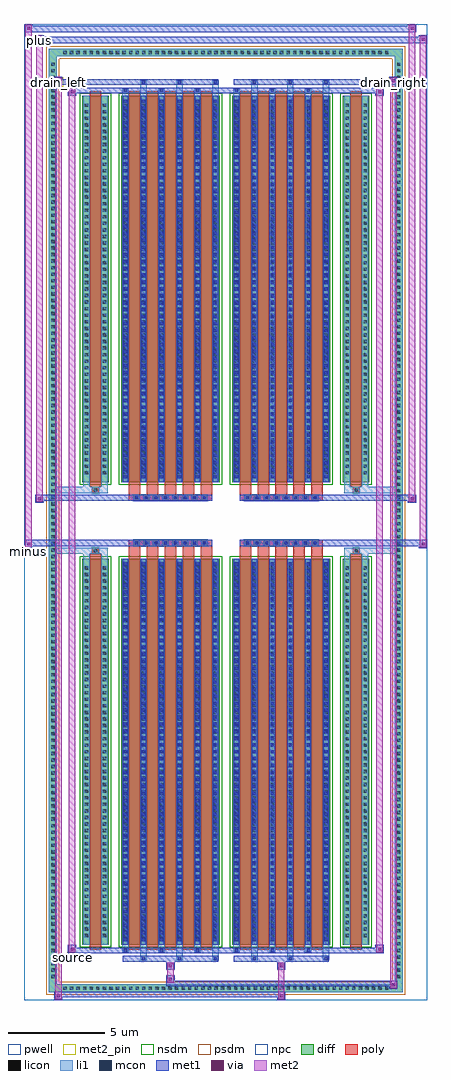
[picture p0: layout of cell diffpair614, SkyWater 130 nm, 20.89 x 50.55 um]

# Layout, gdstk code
import gdstk
lib = gdstk.Library(unit=1e-6, precision=5e-09)
def R(c, l, rs):  # rectangles x0, y0, x1, y1
    for r in rs: c.add(gdstk.rectangle(r[:2], r[2:], *l))
def A(c, l, x, y, w, h, nx, ny, dx, dy):  # array of equal rectangles
    R(c, l, [(x+i*dx, y+j*dy, x+i*dx+w, y+j*dy+h) for i in range(nx) for j in range(ny)])
def P(c, l, *ps):  # polygons
    for p in ps: c.add(gdstk.Polygon(p, *l))
pwell = (64, 44)
diff = (65, 20)
poly = (66, 20)
licon = (66, 44)
li1 = (67, 20)
mcon = (67, 44)
met1 = (68, 20)
via = (68, 44)
met2_pin = (69, 16)
met2 = (69, 20)
nsdm = (93, 44)
psdm = (94, 20)
npc = (95, 20)

diffpair614 = lib.new_cell('diffpair614')
R(diffpair614, pwell, [(-10.43,-24.84,10.43,25.71), (-7.75,-23.03,-0.01,-0.805), (0.01,-23.03,7.75,-0.805), (-7.75,0.805,-0.01,23.03), (0.01,0.805,7.75,23.03)])
A(diffpair614, diff, -8.535, -24.44, 0.41, 0.41, 50, 2, 0.34, 48.47)
A(diffpair614, diff, -9.16, -23.835, 0.41, 0.41, 1, 140, 0, 0.34)
A(diffpair614, diff, 8.75, -23.835, 0.41, 0.41, 1, 140, 0, 0.34)
R(diffpair614, diff, [(-8.535,-24.44,8.535,-24.03), (-9.16,-23.835,-8.75,23.835), (8.75,-23.835,9.16,23.835), (-7.44,-21.985,-6.06,-1.985), (-5.42,-21.985,-0.32,-1.985), (0.32,-21.985,5.42,-1.985), (6.06,-21.985,7.44,-1.985), (-7.44,1.985,-6.06,21.985), (-5.42,1.985,-0.32,21.985), (0.32,1.985,5.42,21.985), (6.06,1.985,7.44,21.985), (-8.535,24.03,8.535,24.44)])
P(diffpair614, diff, [(9.16,24.44),(-9.16,24.44),(-9.16,-24.03),(-8.75,-24.03),(-8.75,24.03),(8.75,24.03),(8.75,-24.03),(-8.75,-24.03),(-9.16,-24.03),(-9.16,-24.44),(9.16,-24.44)])
A(diffpair614, poly, -5.03, -22.235, 0.6, 20.5, 5, 2, 0.93, 23.97)
A(diffpair614, poly, 0.71, -22.235, 0.6, 20.5, 5, 2, 0.93, 23.97)
A(diffpair614, poly, -5.03, -1.735, 0.6, 0.4, 5, 2, 0.93, 3.07)
A(diffpair614, poly, 0.71, -1.735, 0.6, 0.4, 5, 2, 0.93, 3.07)
A(diffpair614, poly, -4.785, -1.335, 0.33, 0.33, 8, 2, 0.5, 2.34)
A(diffpair614, poly, 0.955, -1.335, 0.33, 0.33, 8, 2, 0.5, 2.34)
R(diffpair614, poly, [(-7.05,-22.235,-6.45,-1.735), (6.45,-22.235,7.05,-1.735), (-6.915,-1.735,-6.585,-1.405), (-6.915,-1.735,-6.585,-1.405), (6.585,-1.735,6.915,-1.405), (6.585,-1.735,6.915,-1.405), (-5.03,-1.335,-0.71,-1.005), (0.71,-1.335,5.03,-1.005), (-5.03,1.005,-0.71,1.335), (0.71,1.005,5.03,1.335), (-6.915,1.405,-6.585,1.735), (-6.915,1.405,-6.585,1.735), (6.585,1.405,6.915,1.735), (6.585,1.405,6.915,1.735), (-7.05,1.735,-6.45,22.235), (6.45,1.735,7.05,22.235)])
A(diffpair614, licon, -8.415, -24.32, 0.17, 0.17, 50, 2, 0.34, 48.47)
A(diffpair614, licon, -9.04, -23.715, 0.17, 0.17, 1, 140, 0, 0.34)
A(diffpair614, licon, 8.87, -23.715, 0.17, 0.17, 1, 140, 0, 0.34)
A(diffpair614, licon, -7.3, -21.59, 0.17, 0.17, 1, 57, 0, 0.34)
A(diffpair614, licon, -6.37, -21.59, 0.17, 0.17, 1, 57, 0, 0.34)
A(diffpair614, licon, -5.28, -21.59, 0.17, 0.17, 6, 57, 0.93, 0.34)
A(diffpair614, licon, 0.46, -21.59, 0.17, 0.17, 6, 57, 0.93, 0.34)
A(diffpair614, licon, 6.2, -21.59, 0.17, 0.17, 1, 57, 0, 0.34)
A(diffpair614, licon, 7.13, -21.59, 0.17, 0.17, 1, 57, 0, 0.34)
A(diffpair614, licon, -4.705, -1.255, 0.17, 0.17, 8, 2, 0.5, 2.34)
A(diffpair614, licon, 1.035, -1.255, 0.17, 0.17, 8, 2, 0.5, 2.34)
A(diffpair614, licon, -7.3, 2.38, 0.17, 0.17, 1, 57, 0, 0.34)
A(diffpair614, licon, -6.37, 2.38, 0.17, 0.17, 1, 57, 0, 0.34)
A(diffpair614, licon, -5.28, 2.38, 0.17, 0.17, 6, 57, 0.93, 0.34)
A(diffpair614, licon, 0.46, 2.38, 0.17, 0.17, 6, 57, 0.93, 0.34)
A(diffpair614, licon, 6.2, 2.38, 0.17, 0.17, 1, 57, 0, 0.34)
A(diffpair614, licon, 7.13, 2.38, 0.17, 0.17, 1, 57, 0, 0.34)
R(diffpair614, licon, [(-6.835,-1.655,-6.665,-1.485), (6.665,-1.655,6.835,-1.485), (-6.835,1.485,-6.665,1.655), (6.665,1.485,6.835,1.655)])
A(diffpair614, li1, -8.495, -24.4, 0.33, 0.33, 50, 2, 0.34, 48.47)
A(diffpair614, li1, -9.12, -23.795, 0.33, 0.33, 1, 140, 0, 0.34)
A(diffpair614, li1, 8.79, -23.795, 0.33, 0.33, 1, 140, 0, 0.34)
A(diffpair614, li1, -4.43, -22.79, 0.33, 0.805, 3, 2, 1.86, 44.775)
A(diffpair614, li1, -4.35, -22.79, 0.17, 0.17, 3, 2, 1.86, 45.41)
A(diffpair614, li1, 1.31, -22.79, 0.33, 0.805, 3, 2, 1.86, 44.775)
A(diffpair614, li1, 1.39, -22.79, 0.17, 0.17, 3, 2, 1.86, 45.41)
A(diffpair614, li1, -5.36, -22.36, 0.33, 0.375, 3, 2, 1.86, 44.345)
A(diffpair614, li1, -5.28, -22.36, 0.17, 0.17, 3, 2, 1.86, 44.55)
A(diffpair614, li1, 0.38, -22.36, 0.33, 0.375, 3, 2, 1.86, 44.345)
A(diffpair614, li1, 0.46, -22.36, 0.17, 0.17, 3, 2, 1.86, 44.55)
A(diffpair614, li1, -5.36, -21.985, 0.33, 20, 6, 2, 0.93, 23.97)
A(diffpair614, li1, 0.38, -21.985, 0.33, 20, 6, 2, 0.93, 23.97)
A(diffpair614, li1, -5.28, -21.79, 0.17, 0.17, 6, 55, 0.93, 0.36)
A(diffpair614, li1, -5.28, -21.79, 0.17, 19.61, 6, 2, 0.93, 23.97)
A(diffpair614, li1, 0.46, -21.79, 0.17, 0.17, 6, 55, 0.93, 0.36)
A(diffpair614, li1, 0.46, -21.79, 0.17, 19.61, 6, 2, 0.93, 23.97)
A(diffpair614, li1, -7.38, -21.67, 0.33, 0.33, 1, 57, 0, 0.34)
A(diffpair614, li1, -6.45, -21.67, 0.33, 0.33, 1, 57, 0, 0.34)
A(diffpair614, li1, -5.36, -21.67, 0.33, 0.33, 6, 57, 0.93, 0.34)
A(diffpair614, li1, 0.38, -21.67, 0.33, 0.33, 6, 57, 0.93, 0.34)
A(diffpair614, li1, 6.12, -21.67, 0.33, 0.33, 1, 57, 0, 0.34)
A(diffpair614, li1, 7.05, -21.67, 0.33, 0.33, 1, 57, 0, 0.34)
A(diffpair614, li1, -4.785, -1.335, 0.33, 0.33, 8, 2, 0.5, 2.34)
A(diffpair614, li1, 0.955, -1.335, 0.33, 0.33, 8, 2, 0.5, 2.34)
A(diffpair614, li1, -5.28, 2.18, 0.17, 0.17, 6, 55, 0.93, 0.36)
A(diffpair614, li1, 0.46, 2.18, 0.17, 0.17, 6, 55, 0.93, 0.36)
A(diffpair614, li1, -7.38, 2.3, 0.33, 0.33, 1, 57, 0, 0.34)
A(diffpair614, li1, -6.45, 2.3, 0.33, 0.33, 1, 57, 0, 0.34)
A(diffpair614, li1, -5.36, 2.3, 0.33, 0.33, 6, 57, 0.93, 0.34)
A(diffpair614, li1, 0.38, 2.3, 0.33, 0.33, 6, 57, 0.93, 0.34)
A(diffpair614, li1, 6.12, 2.3, 0.33, 0.33, 1, 57, 0, 0.34)
A(diffpair614, li1, 7.05, 2.3, 0.33, 0.33, 1, 57, 0, 0.34)
R(diffpair614, li1, [(-9.16,-24.44,-8.75,-24.03), (-9.16,-24.44,-8.75,-24.03), (-8.75,-24.44,8.75,-24.03), (8.75,-24.44,9.16,-24.03), (8.75,-24.44,9.16,-24.03), (-9.16,-24.03,-8.75,24.03), (8.75,-24.03,9.16,24.03), (-7.38,-21.985,-7.05,-1.985), (-6.45,-21.985,-6.12,-1.985), (6.12,-21.985,6.45,-1.985), (7.05,-21.985,7.38,-1.985), (-7.38,-1.985,-7.05,-1.405), (-6.45,-1.985,-6.12,-1.405), (6.12,-1.985,6.45,-1.405), (7.05,-1.985,7.38,-1.405), (-9.16,-1.735,-6.915,-1.405), (-7.38,-1.735,-6.915,-1.405), (-6.915,-1.735,-6.585,-1.405), (-6.585,-1.735,-6.12,-1.405), (6.12,-1.735,6.585,-1.405), (6.585,-1.735,6.915,-1.405), (6.585,-1.735,9.16,-1.405), (6.915,-1.735,7.38,-1.405), (-9.16,1.405,-6.915,1.735), (-7.38,1.405,-6.915,1.735), (-7.38,1.405,-7.05,1.985), (-6.915,1.405,-6.585,1.735), (-6.585,1.405,-6.12,1.735), (-6.45,1.405,-6.12,1.985), (6.12,1.405,6.585,1.735), (6.12,1.405,6.45,1.985), (6.585,1.405,6.915,1.735), (6.585,1.405,9.16,1.735), (6.915,1.405,7.38,1.735), (7.05,1.405,7.38,1.985), (-7.38,1.985,-7.05,21.985), (-6.45,1.985,-6.12,21.985), (6.12,1.985,6.45,21.985), (7.05,1.985,7.38,21.985), (-9.16,24.03,-8.75,24.44), (-9.16,24.03,-8.75,24.44), (-8.75,24.03,8.75,24.44), (8.75,24.03,9.16,24.44), (8.75,24.03,9.16,24.44)])
A(diffpair614, mcon, -4.35, -22.79, 0.17, 0.17, 3, 2, 1.86, 45.41)
A(diffpair614, mcon, 1.39, -22.79, 0.17, 0.17, 3, 2, 1.86, 45.41)
A(diffpair614, mcon, -5.28, -22.36, 0.17, 0.17, 3, 2, 1.86, 44.55)
A(diffpair614, mcon, 0.46, -22.36, 0.17, 0.17, 3, 2, 1.86, 44.55)
A(diffpair614, mcon, -5.28, -21.79, 0.17, 0.17, 6, 55, 0.93, 0.36)
A(diffpair614, mcon, 0.46, -21.79, 0.17, 0.17, 6, 55, 0.93, 0.36)
A(diffpair614, mcon, -4.705, -1.255, 0.17, 0.17, 8, 2, 0.5, 2.34)
A(diffpair614, mcon, 1.035, -1.255, 0.17, 0.17, 8, 2, 0.5, 2.34)
A(diffpair614, mcon, -5.28, 2.18, 0.17, 0.17, 6, 55, 0.93, 0.36)
A(diffpair614, mcon, 0.46, 2.18, 0.17, 0.17, 6, 55, 0.93, 0.36)
A(diffpair614, met1, -4.41, -22.85, 0.29, 0.29, 3, 2, 1.86, 45.41)
A(diffpair614, met1, 1.33, -22.85, 0.29, 0.29, 3, 2, 1.86, 45.41)
A(diffpair614, met1, -5.34, -22.42, 0.29, 0.29, 3, 2, 1.86, 44.55)
A(diffpair614, met1, 0.4, -22.42, 0.29, 0.29, 3, 2, 1.86, 44.55)
A(diffpair614, met1, -5.34, -21.985, 0.29, 20, 6, 2, 0.93, 23.97)
A(diffpair614, met1, 0.4, -21.985, 0.29, 20, 6, 2, 0.93, 23.97)
A(diffpair614, met1, -5.34, -21.85, 0.29, 0.29, 6, 55, 0.93, 0.36)
A(diffpair614, met1, 0.4, -21.85, 0.29, 0.29, 6, 55, 0.93, 0.36)
A(diffpair614, met1, -4.765, -1.315, 0.29, 0.29, 8, 2, 0.5, 2.34)
A(diffpair614, met1, 0.975, -1.315, 0.29, 0.29, 8, 2, 0.5, 2.34)
A(diffpair614, met1, -5.34, 2.12, 0.29, 0.29, 6, 55, 0.93, 0.36)
A(diffpair614, met1, 0.4, 2.12, 0.29, 0.29, 6, 55, 0.93, 0.36)
R(diffpair614, met1, [(-8.89,-24.84,-8.46,-24.41), (2.655,-24.84,3.085,-24.41), (-8.89,-24.7,3.085,-24.41), (8.46,-24.27,8.89,-23.84), (-3.085,-24.13,8.89,-23.84), (-3.085,-23.99,-2.655,-23.56), (-3.085,-23.28,-2.655,-22.85), (2.655,-23.28,3.085,-22.85), (-5.34,-22.85,-0.4,-22.56), (0.4,-22.85,5.34,-22.56), (-8.18,-22.42,-7.75,-21.99), (-8.18,-22.42,-5.34,-22.13), (-5.34,-22.42,-0.4,-22.13), (-0.4,-22.42,0.4,-22.13), (0.4,-22.42,5.34,-22.13), (5.34,-22.42,8.18,-22.13), (7.75,-22.42,8.18,-21.99), (-10.43,-1.435,-10,-1.005), (10,-1.435,10.43,-1.005), (-10.43,-1.335,-0.71,-1.005), (-5.03,-1.335,-0.71,-1.005), (0.71,-1.335,5.03,-1.005), (0.71,-1.335,10.43,-1.005), (-9.86,0.905,-9.43,1.335), (9.43,0.905,9.86,1.335), (-9.86,1.005,-5.03,1.335), (-5.03,1.005,-0.71,1.335), (0.71,1.005,5.03,1.335), (5.03,1.005,9.86,1.335), (-8.18,21.99,-7.75,22.42), (7.75,21.99,8.18,22.42), (-8.18,22.13,-5.34,22.42), (-5.34,22.13,-0.4,22.42), (-0.4,22.13,0.4,22.42), (0.4,22.13,5.34,22.42), (5.34,22.13,8.18,22.42), (-8.89,22.56,-8.46,22.99), (-8.89,22.56,-5.34,22.85), (-5.34,22.56,-0.4,22.85), (0.4,22.56,5.34,22.85), (5.34,22.56,8.89,22.85), (8.46,22.56,8.89,22.99), (-9.86,24.71,-9.43,25.14), (-9.86,24.71,-7.75,25.04), (-7.75,24.71,7.75,25.04), (7.75,24.71,10.43,25.04), (10,24.71,10.43,25.14), (-10.43,25.28,-10,25.71), (-10.43,25.28,-7.75,25.61), (-7.75,25.28,7.75,25.61), (7.75,25.28,9.86,25.61), (9.43,25.28,9.86,25.71)])
R(diffpair614, via, [(-8.75,-24.7,-8.6,-24.55), (2.795,-24.7,2.945,-24.55), (8.6,-24.13,8.75,-23.98), (-2.945,-23.85,-2.795,-23.7), (-2.945,-23.14,-2.795,-22.99), (2.795,-23.14,2.945,-22.99), (-8.04,-22.28,-7.89,-22.13), (7.89,-22.28,8.04,-22.13), (-10.29,-1.295,-10.14,-1.145), (10.14,-1.295,10.29,-1.145), (-9.72,1.045,-9.57,1.195), (9.57,1.045,9.72,1.195), (-8.04,22.13,-7.89,22.28), (7.89,22.13,8.04,22.28), (-8.75,22.7,-8.6,22.85), (8.6,22.7,8.75,22.85), (-9.72,24.85,-9.57,25), (10.14,24.85,10.29,25), (-10.29,25.42,-10.14,25.57), (9.57,25.42,9.72,25.57)])
R(diffpair614, met2_pin, [(-8.215,-22.87,-7.715,-22.37), (-10.465,-1.885,-9.965,-1.385), (-8.925,22.44,-8.425,22.94), (8.425,22.44,8.925,22.94), (-9.895,24.59,-9.395,25.09)])
R(diffpair614, met2, [(-8.84,-24.79,-8.51,-24.46), (-8.84,-24.79,-8.51,22.94), (2.705,-24.79,3.035,-24.46), (2.705,-24.46,3.035,-23.23), (8.51,-24.22,8.84,-23.89), (8.51,-24.22,8.84,22.94), (-3.035,-23.94,-2.705,-23.61), (-3.035,-23.61,-2.705,-23.23), (-3.035,-23.23,-2.705,-22.9), (2.705,-23.23,3.035,-22.9), (-8.13,-22.37,-7.8,-22.04), (-8.13,-22.37,-7.8,22.37), (7.8,-22.37,8.13,-22.04), (7.8,-22.37,8.13,22.37), (-10.38,-1.385,-10.05,-1.055), (-10.38,-1.385,-10.05,25.66), (10.05,-1.385,10.38,-1.055), (10.05,-1.385,10.38,25.09), (-9.81,0.955,-9.48,1.285), (-9.81,0.955,-9.48,25.09), (9.48,0.955,9.81,1.285), (9.48,0.955,9.81,25.66), (-8.13,22.04,-7.8,22.37), (7.8,22.04,8.13,22.37), (-8.84,22.61,-8.51,22.94), (8.51,22.61,8.84,22.94), (-9.81,24.76,-9.48,25.09), (10.05,24.76,10.38,25.09), (-10.38,25.33,-10.05,25.66), (9.48,25.33,9.81,25.66)])
P(diffpair614, met2, [(10.38,-1.385),(10.38,-1.385),(10.38,-1.055),(10.38,-1.055)],
  [(10.38,24.76),(10.38,24.76),(10.38,25.09),(10.38,25.09)],
  [(-10.05,-1.385),(-10.05,-1.385),(-10.05,-1.055),(-10.05,-1.055)],
  [(-10.05,25.33),(-10.05,25.33),(-10.05,25.66),(-10.05,25.66)],
  [(9.81,0.955),(9.81,0.955),(9.81,1.285),(9.81,1.285)],
  [(9.81,25.33),(9.81,25.33),(9.81,25.66),(9.81,25.66)],
  [(-9.48,0.955),(-9.48,0.955),(-9.48,1.285),(-9.48,1.285)],
  [(-9.48,24.76),(-9.48,24.76),(-9.48,25.09),(-9.48,25.09)],
  [(-8.51,-24.79),(-8.51,-24.79),(-8.51,-24.46),(-8.51,-24.46)],
  [(-8.51,22.61),(-8.51,22.61),(-8.51,22.94),(-8.51,22.94)],
  [(8.84,-24.22),(8.84,-24.22),(8.84,-23.89),(8.84,-23.89)],
  [(8.84,22.61),(8.84,22.61),(8.84,22.94),(8.84,22.94)],
  [(-7.8,-22.37),(-7.8,-22.37),(-7.8,-22.04),(-7.8,-22.04)],
  [(-7.8,22.04),(-7.8,22.04),(-7.8,22.37),(-7.8,22.37)],
  [(8.13,-22.37),(8.13,-22.37),(8.13,-22.04),(8.13,-22.04)],
  [(8.13,22.04),(8.13,22.04),(8.13,22.37),(8.13,22.37)])
R(diffpair614, nsdm, [(-7.57,-22.115,-5.93,-1.855), (-5.55,-22.115,-0.19,-1.855), (0.19,-22.115,5.55,-1.855), (5.93,-22.115,7.57,-1.855), (-7.57,1.855,-5.93,22.115), (-5.55,1.855,-0.19,22.115), (0.19,1.855,5.55,22.115), (5.93,1.855,7.57,22.115)])
P(diffpair614, psdm, [(9.29,24.57),(-9.29,24.57),(-9.29,-23.9),(-8.62,-23.9),(-8.62,23.9),(8.62,23.9),(8.62,-23.9),(-8.62,-23.9),(-9.29,-23.9),(-9.29,-24.57),(9.29,-24.57)])
A(diffpair614, npc, -4.805, -1.355, 0.37, 0.37, 8, 2, 0.5, 2.34)
A(diffpair614, npc, 0.935, -1.355, 0.37, 0.37, 8, 2, 0.5, 2.34)
R(diffpair614, npc, [(-6.935,-1.755,-6.565,-1.385), (6.565,-1.755,6.935,-1.385), (-4.805,-1.355,-3.935,-0.985), (-4.805,-1.355,-3.935,-0.985), (-4.305,-1.355,-3.435,-0.985), (-4.305,-1.355,-3.435,-0.985), (-3.805,-1.355,-2.935,-0.985), (-3.805,-1.355,-2.935,-0.985), (-3.305,-1.355,-2.435,-0.985), (-3.305,-1.355,-2.435,-0.985), (-2.805,-1.355,-1.935,-0.985), (-2.805,-1.355,-1.935,-0.985), (-2.305,-1.355,-1.435,-0.985), (-2.305,-1.355,-1.435,-0.985), (-1.805,-1.355,-0.935,-0.985), (-1.805,-1.355,-0.935,-0.985), (0.935,-1.355,1.805,-0.985), (0.935,-1.355,1.805,-0.985), (1.435,-1.355,2.305,-0.985), (1.435,-1.355,2.305,-0.985), (1.935,-1.355,2.805,-0.985), (1.935,-1.355,2.805,-0.985), (2.435,-1.355,3.305,-0.985), (2.435,-1.355,3.305,-0.985), (2.935,-1.355,3.805,-0.985), (2.935,-1.355,3.805,-0.985), (3.435,-1.355,4.305,-0.985), (3.435,-1.355,4.305,-0.985), (3.935,-1.355,4.805,-0.985), (3.935,-1.355,4.805,-0.985), (-4.805,0.985,-3.935,1.355), (-4.805,0.985,-3.935,1.355), (-4.305,0.985,-3.435,1.355), (-4.305,0.985,-3.435,1.355), (-3.805,0.985,-2.935,1.355), (-3.805,0.985,-2.935,1.355), (-3.305,0.985,-2.435,1.355), (-3.305,0.985,-2.435,1.355), (-2.805,0.985,-1.935,1.355), (-2.805,0.985,-1.935,1.355), (-2.305,0.985,-1.435,1.355), (-2.305,0.985,-1.435,1.355), (-1.805,0.985,-0.935,1.355), (-1.805,0.985,-0.935,1.355), (0.935,0.985,1.805,1.355), (0.935,0.985,1.805,1.355), (1.435,0.985,2.305,1.355), (1.435,0.985,2.305,1.355), (1.935,0.985,2.805,1.355), (1.935,0.985,2.805,1.355), (2.435,0.985,3.305,1.355), (2.435,0.985,3.305,1.355), (2.935,0.985,3.805,1.355), (2.935,0.985,3.805,1.355), (3.435,0.985,4.305,1.355), (3.435,0.985,4.305,1.355), (3.935,0.985,4.805,1.355), (3.935,0.985,4.805,1.355), (-6.935,1.385,-6.565,1.755), (6.565,1.385,6.935,1.755)])
diffpair614.add(gdstk.Label('minus', (-10.215,-1.635), layer=69, texttype=5))
diffpair614.add(gdstk.Label('drain_right', (8.675,22.69), layer=69, texttype=5))
diffpair614.add(gdstk.Label('drain_left', (-8.675,22.69), layer=69, texttype=5))
diffpair614.add(gdstk.Label('source', (-7.965,-22.62), layer=69, texttype=5))
diffpair614.add(gdstk.Label('plus', (-9.645,24.84), layer=69, texttype=5))

lib.write_gds('diffpair614.gds')
